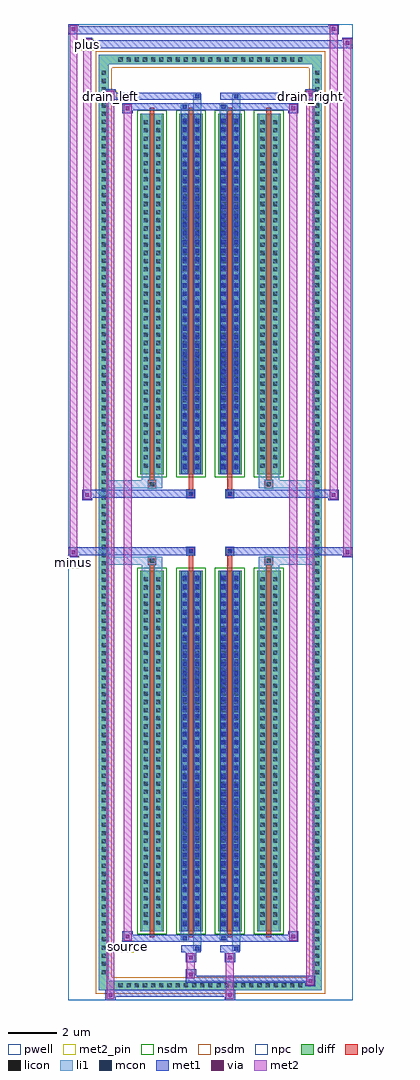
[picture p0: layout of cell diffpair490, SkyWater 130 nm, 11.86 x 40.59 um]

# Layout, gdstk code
import gdstk
lib = gdstk.Library(unit=1e-6, precision=5e-09)
def R(c, l, rs):  # rectangles x0, y0, x1, y1
    for r in rs: c.add(gdstk.rectangle(r[:2], r[2:], *l))
def A(c, l, x, y, w, h, nx, ny, dx, dy):  # array of equal rectangles
    R(c, l, [(x+i*dx, y+j*dy, x+i*dx+w, y+j*dy+h) for i in range(nx) for j in range(ny)])
def P(c, l, *ps):  # polygons
    for p in ps: c.add(gdstk.Polygon(p, *l))
pwell = (64, 44)
diff = (65, 20)
poly = (66, 20)
licon = (66, 44)
li1 = (67, 20)
mcon = (67, 44)
met1 = (68, 20)
via = (68, 44)
met2_pin = (69, 16)
met2 = (69, 20)
nsdm = (93, 44)
psdm = (94, 20)
npc = (95, 20)

diffpair490 = lib.new_cell('diffpair490')
R(diffpair490, pwell, [(-5.91,-19.86,5.91,20.73), (-3.23,-18.05,-0.01,-0.825), (0.01,-18.05,3.23,-0.825), (-3.23,0.825,-0.01,18.05), (0.01,0.825,3.23,18.05)])
A(diffpair490, diff, -3.945, -19.46, 0.41, 0.41, 23, 2, 0.34, 38.51)
A(diffpair490, diff, -4.64, -18.905, 0.41, 0.41, 1, 111, 0, 0.34)
A(diffpair490, diff, 4.23, -18.905, 0.41, 0.41, 1, 111, 0, 0.34)
A(diffpair490, diff, -2.92, -17.005, 0.98, 15, 4, 2, 1.62, 19.01)
R(diffpair490, diff, [(-3.945,-19.46,3.945,-19.05), (-4.64,-18.905,-4.23,18.905), (4.23,-18.905,4.64,18.905), (-3.945,19.05,3.945,19.46)])
P(diffpair490, diff, [(4.64,19.46),(-4.64,19.46),(-4.64,-19.05),(-4.23,-19.05),(-4.23,19.05),(4.23,19.05),(4.23,-19.05),(-4.23,-19.05),(-4.64,-19.05),(-4.64,-19.46),(4.64,-19.46)])
A(diffpair490, poly, -2.53, -17.255, 0.2, 15.5, 4, 2, 1.62, 19.01)
R(diffpair490, poly, [(-2.595,-1.755,-2.265,-1.425), (-2.595,-1.755,-2.265,-1.425), (-0.91,-1.755,-0.71,-1.355), (0.71,-1.755,0.91,-1.355), (2.265,-1.755,2.595,-1.425), (2.265,-1.755,2.595,-1.425), (-0.975,-1.355,-0.645,-1.025), (-0.975,-1.355,-0.645,-1.025), (0.645,-1.355,0.975,-1.025), (0.645,-1.355,0.975,-1.025), (-0.975,1.025,-0.645,1.355), (-0.975,1.025,-0.645,1.355), (0.645,1.025,0.975,1.355), (0.645,1.025,0.975,1.355), (-0.91,1.355,-0.71,1.755), (0.71,1.355,0.91,1.755), (-2.595,1.425,-2.265,1.755), (-2.595,1.425,-2.265,1.755), (2.265,1.425,2.595,1.755), (2.265,1.425,2.595,1.755)])
A(diffpair490, licon, -3.825, -19.34, 0.17, 0.17, 23, 2, 0.34, 38.51)
A(diffpair490, licon, -4.52, -18.785, 0.17, 0.17, 1, 111, 0, 0.34)
A(diffpair490, licon, 4.35, -18.785, 0.17, 0.17, 1, 111, 0, 0.34)
A(diffpair490, licon, -2.78, -16.73, 0.17, 0.17, 1, 43, 0, 0.34)
A(diffpair490, licon, -2.25, -16.73, 0.17, 0.17, 1, 43, 0, 0.34)
A(diffpair490, licon, -1.16, -16.73, 0.17, 0.17, 1, 43, 0, 0.34)
A(diffpair490, licon, -0.63, -16.73, 0.17, 0.17, 1, 43, 0, 0.34)
A(diffpair490, licon, 0.46, -16.73, 0.17, 0.17, 1, 43, 0, 0.34)
A(diffpair490, licon, 0.99, -16.73, 0.17, 0.17, 1, 43, 0, 0.34)
A(diffpair490, licon, 2.08, -16.73, 0.17, 0.17, 1, 43, 0, 0.34)
A(diffpair490, licon, 2.61, -16.73, 0.17, 0.17, 1, 43, 0, 0.34)
A(diffpair490, licon, -2.78, 2.28, 0.17, 0.17, 1, 43, 0, 0.34)
A(diffpair490, licon, -2.25, 2.28, 0.17, 0.17, 1, 43, 0, 0.34)
A(diffpair490, licon, -1.16, 2.28, 0.17, 0.17, 1, 43, 0, 0.34)
A(diffpair490, licon, -0.63, 2.28, 0.17, 0.17, 1, 43, 0, 0.34)
A(diffpair490, licon, 0.46, 2.28, 0.17, 0.17, 1, 43, 0, 0.34)
A(diffpair490, licon, 0.99, 2.28, 0.17, 0.17, 1, 43, 0, 0.34)
A(diffpair490, licon, 2.08, 2.28, 0.17, 0.17, 1, 43, 0, 0.34)
A(diffpair490, licon, 2.61, 2.28, 0.17, 0.17, 1, 43, 0, 0.34)
R(diffpair490, licon, [(-2.515,-1.675,-2.345,-1.505), (2.345,-1.675,2.515,-1.505), (-0.895,-1.275,-0.725,-1.105), (0.725,-1.275,0.895,-1.105), (-0.895,1.105,-0.725,1.275), (0.725,1.105,0.895,1.275), (-2.515,1.505,-2.345,1.675), (2.345,1.505,2.515,1.675)])
A(diffpair490, li1, -3.905, -19.42, 0.33, 0.33, 23, 2, 0.34, 38.51)
A(diffpair490, li1, -4.6, -18.865, 0.33, 0.33, 1, 111, 0, 0.34)
A(diffpair490, li1, 4.27, -18.865, 0.33, 0.33, 1, 111, 0, 0.34)
A(diffpair490, li1, -2.86, -16.81, 0.33, 0.33, 1, 43, 0, 0.34)
A(diffpair490, li1, -2.33, -16.81, 0.33, 0.33, 1, 43, 0, 0.34)
A(diffpair490, li1, -1.24, -16.81, 0.33, 0.33, 1, 43, 0, 0.34)
A(diffpair490, li1, -0.71, -16.81, 0.33, 0.33, 1, 43, 0, 0.34)
A(diffpair490, li1, 0.38, -16.81, 0.33, 0.33, 1, 43, 0, 0.34)
A(diffpair490, li1, 0.91, -16.81, 0.33, 0.33, 1, 43, 0, 0.34)
A(diffpair490, li1, 2, -16.81, 0.33, 0.33, 1, 43, 0, 0.34)
A(diffpair490, li1, 2.53, -16.81, 0.33, 0.33, 1, 43, 0, 0.34)
A(diffpair490, li1, -1.16, -16.79, 0.17, 0.17, 1, 41, 0, 0.36)
A(diffpair490, li1, -0.63, -16.79, 0.17, 0.17, 1, 41, 0, 0.36)
A(diffpair490, li1, 0.46, -16.79, 0.17, 0.17, 1, 41, 0, 0.36)
A(diffpair490, li1, 0.99, -16.79, 0.17, 0.17, 1, 41, 0, 0.36)
A(diffpair490, li1, -2.86, 2.2, 0.33, 0.33, 1, 43, 0, 0.34)
A(diffpair490, li1, -2.33, 2.2, 0.33, 0.33, 1, 43, 0, 0.34)
A(diffpair490, li1, -1.24, 2.2, 0.33, 0.33, 1, 43, 0, 0.34)
A(diffpair490, li1, -0.71, 2.2, 0.33, 0.33, 1, 43, 0, 0.34)
A(diffpair490, li1, 0.38, 2.2, 0.33, 0.33, 1, 43, 0, 0.34)
A(diffpair490, li1, 0.91, 2.2, 0.33, 0.33, 1, 43, 0, 0.34)
A(diffpair490, li1, 2, 2.2, 0.33, 0.33, 1, 43, 0, 0.34)
A(diffpair490, li1, 2.53, 2.2, 0.33, 0.33, 1, 43, 0, 0.34)
A(diffpair490, li1, -1.16, 2.22, 0.17, 0.17, 1, 41, 0, 0.36)
A(diffpair490, li1, -0.63, 2.22, 0.17, 0.17, 1, 41, 0, 0.36)
A(diffpair490, li1, 0.46, 2.22, 0.17, 0.17, 1, 41, 0, 0.36)
A(diffpair490, li1, 0.99, 2.22, 0.17, 0.17, 1, 41, 0, 0.36)
R(diffpair490, li1, [(-4.64,-19.46,-4.23,-19.05), (-4.64,-19.46,-4.23,-19.05), (-4.23,-19.46,4.23,-19.05), (4.23,-19.46,4.64,-19.05), (4.23,-19.46,4.64,-19.05), (-4.64,-19.05,-4.23,19.05), (4.23,-19.05,4.64,19.05), (-0.71,-17.81,-0.38,-17.005), (-0.63,-17.81,-0.46,-17.64), (0.91,-17.81,1.24,-17.005), (0.99,-17.81,1.16,-17.64), (-1.24,-17.38,-0.91,-17.005), (-1.16,-17.38,-0.99,-17.21), (0.38,-17.38,0.71,-17.005), (0.46,-17.38,0.63,-17.21), (-2.86,-17.005,-2.53,-2.005), (-2.33,-17.005,-2,-2.005), (-1.24,-17.005,-0.91,-2.005), (-0.71,-17.005,-0.38,-2.005), (0.38,-17.005,0.71,-2.005), (0.91,-17.005,1.24,-2.005), (2,-17.005,2.33,-2.005), (2.53,-17.005,2.86,-2.005), (-1.16,-16.79,-0.99,-2.22), (-0.63,-16.79,-0.46,-2.22), (0.46,-16.79,0.63,-2.22), (0.99,-16.79,1.16,-2.22), (-2.86,-2.005,-2.53,-1.425), (-2.33,-2.005,-2,-1.425), (2,-2.005,2.33,-1.425), (2.53,-2.005,2.86,-1.425), (-4.64,-1.755,-2.595,-1.425), (-2.86,-1.755,-2.595,-1.425), (-2.595,-1.755,-2.265,-1.425), (-2.265,-1.755,-2,-1.425), (2,-1.755,2.265,-1.425), (2.265,-1.755,2.595,-1.425), (2.265,-1.755,4.64,-1.425), (2.595,-1.755,2.86,-1.425), (-0.975,-1.355,-0.645,-1.025), (0.645,-1.355,0.975,-1.025), (-0.975,1.025,-0.645,1.355), (0.645,1.025,0.975,1.355), (-4.64,1.425,-2.595,1.755), (-2.86,1.425,-2.595,1.755), (-2.86,1.425,-2.53,2.005), (-2.595,1.425,-2.265,1.755), (-2.33,1.425,-2,2.005), (-2.265,1.425,-2,1.755), (2,1.425,2.265,1.755), (2,1.425,2.33,2.005), (2.265,1.425,2.595,1.755), (2.265,1.425,4.64,1.755), (2.53,1.425,2.86,2.005), (2.595,1.425,2.86,1.755), (-2.86,2.005,-2.53,17.005), (-2.33,2.005,-2,17.005), (-1.24,2.005,-0.91,17.005), (-0.71,2.005,-0.38,17.005), (0.38,2.005,0.71,17.005), (0.91,2.005,1.24,17.005), (2,2.005,2.33,17.005), (2.53,2.005,2.86,17.005), (-1.16,2.22,-0.99,16.79), (-0.63,2.22,-0.46,16.79), (0.46,2.22,0.63,16.79), (0.99,2.22,1.16,16.79), (-1.24,17.005,-0.91,17.38), (-0.71,17.005,-0.38,17.81), (0.38,17.005,0.71,17.38), (0.91,17.005,1.24,17.81), (-1.16,17.21,-0.99,17.38), (0.46,17.21,0.63,17.38), (-0.63,17.64,-0.46,17.81), (0.99,17.64,1.16,17.81), (-4.64,19.05,-4.23,19.46), (-4.64,19.05,-4.23,19.46), (-4.23,19.05,4.23,19.46), (4.23,19.05,4.64,19.46), (4.23,19.05,4.64,19.46)])
A(diffpair490, mcon, -1.16, -16.79, 0.17, 0.17, 1, 41, 0, 0.36)
A(diffpair490, mcon, -0.63, -16.79, 0.17, 0.17, 1, 41, 0, 0.36)
A(diffpair490, mcon, 0.46, -16.79, 0.17, 0.17, 1, 41, 0, 0.36)
A(diffpair490, mcon, 0.99, -16.79, 0.17, 0.17, 1, 41, 0, 0.36)
A(diffpair490, mcon, -1.16, 2.22, 0.17, 0.17, 1, 41, 0, 0.36)
A(diffpair490, mcon, -0.63, 2.22, 0.17, 0.17, 1, 41, 0, 0.36)
A(diffpair490, mcon, 0.46, 2.22, 0.17, 0.17, 1, 41, 0, 0.36)
A(diffpair490, mcon, 0.99, 2.22, 0.17, 0.17, 1, 41, 0, 0.36)
R(diffpair490, mcon, [(-0.63,-17.81,-0.46,-17.64), (0.99,-17.81,1.16,-17.64), (-1.16,-17.38,-0.99,-17.21), (0.46,-17.38,0.63,-17.21), (-0.895,-1.275,-0.725,-1.105), (0.725,-1.275,0.895,-1.105), (-0.895,1.105,-0.725,1.275), (0.725,1.105,0.895,1.275), (-1.16,17.21,-0.99,17.38), (0.46,17.21,0.63,17.38), (-0.63,17.64,-0.46,17.81), (0.99,17.64,1.16,17.81)])
A(diffpair490, met1, -1.22, -16.85, 0.29, 0.29, 1, 41, 0, 0.36)
A(diffpair490, met1, -0.69, -16.85, 0.29, 0.29, 1, 41, 0, 0.36)
A(diffpair490, met1, 0.4, -16.85, 0.29, 0.29, 1, 41, 0, 0.36)
A(diffpair490, met1, 0.93, -16.85, 0.29, 0.29, 1, 41, 0, 0.36)
A(diffpair490, met1, -1.22, 2.16, 0.29, 0.29, 1, 41, 0, 0.36)
A(diffpair490, met1, -0.69, 2.16, 0.29, 0.29, 1, 41, 0, 0.36)
A(diffpair490, met1, 0.4, 2.16, 0.29, 0.29, 1, 41, 0, 0.36)
A(diffpair490, met1, 0.93, 2.16, 0.29, 0.29, 1, 41, 0, 0.36)
R(diffpair490, met1, [(-4.37,-19.86,-3.94,-19.43), (0.595,-19.86,1.025,-19.43), (-4.37,-19.72,1.025,-19.43), (3.94,-19.29,4.37,-18.86), (-1.025,-19.15,4.37,-18.86), (-1.025,-19.01,-0.595,-18.58), (-1.025,-18.3,-0.595,-17.87), (0.595,-18.3,1.025,-17.87), (-1.22,-17.87,-0.4,-17.58), (-0.69,-17.87,-0.4,-17.58), (0.4,-17.87,1.22,-17.58), (0.93,-17.87,1.22,-17.58), (-3.66,-17.44,-3.23,-17.01), (-3.66,-17.44,-1.22,-17.15), (-1.22,-17.44,-0.93,-17.15), (-1.22,-17.44,-0.4,-17.15), (-0.4,-17.44,0.4,-17.15), (0.4,-17.44,0.69,-17.15), (0.4,-17.44,1.22,-17.15), (1.22,-17.44,3.66,-17.15), (3.23,-17.44,3.66,-17.01), (-1.22,-17.005,-0.93,-2.005), (-0.69,-17.005,-0.4,-2.005), (0.4,-17.005,0.69,-2.005), (0.93,-17.005,1.22,-2.005), (-5.91,-1.455,-5.48,-1.025), (5.48,-1.455,5.91,-1.025), (-5.91,-1.355,-0.645,-1.025), (-0.975,-1.355,-0.645,-1.025), (0.645,-1.355,0.975,-1.025), (0.645,-1.355,5.91,-1.025), (-0.955,-1.335,-0.665,-1.045), (0.665,-1.335,0.955,-1.045), (-5.34,0.925,-4.91,1.355), (4.91,0.925,5.34,1.355), (-5.34,1.025,-0.975,1.355), (-0.975,1.025,-0.645,1.355), (0.645,1.025,0.975,1.355), (0.975,1.025,5.34,1.355), (-0.955,1.045,-0.665,1.335), (0.665,1.045,0.955,1.335), (-1.22,2.005,-0.93,17.005), (-0.69,2.005,-0.4,17.005), (0.4,2.005,0.69,17.005), (0.93,2.005,1.22,17.005), (-3.66,17.01,-3.23,17.44), (3.23,17.01,3.66,17.44), (-3.66,17.15,-1.22,17.44), (-1.22,17.15,-0.93,17.44), (-1.22,17.15,-0.4,17.44), (-0.4,17.15,0.4,17.44), (0.4,17.15,0.69,17.44), (0.4,17.15,1.22,17.44), (1.22,17.15,3.66,17.44), (-4.37,17.58,-3.94,18.01), (-4.37,17.58,-1.22,17.87), (-1.22,17.58,-0.4,17.87), (-0.69,17.58,-0.4,17.87), (0.4,17.58,1.22,17.87), (0.93,17.58,1.22,17.87), (1.22,17.58,4.37,17.87), (3.94,17.58,4.37,18.01), (-5.34,19.73,-4.91,20.16), (-5.34,19.73,-3.23,20.06), (-3.23,19.73,3.23,20.06), (3.23,19.73,5.91,20.06), (5.48,19.73,5.91,20.16), (-5.91,20.3,-5.48,20.73), (-5.91,20.3,-3.23,20.63), (-3.23,20.3,3.23,20.63), (3.23,20.3,5.34,20.63), (4.91,20.3,5.34,20.73)])
R(diffpair490, via, [(-4.23,-19.72,-4.08,-19.57), (0.735,-19.72,0.885,-19.57), (4.08,-19.15,4.23,-19), (-0.885,-18.87,-0.735,-18.72), (-0.885,-18.16,-0.735,-18.01), (0.735,-18.16,0.885,-18.01), (-3.52,-17.3,-3.37,-17.15), (3.37,-17.3,3.52,-17.15), (-5.77,-1.315,-5.62,-1.165), (5.62,-1.315,5.77,-1.165), (-5.2,1.065,-5.05,1.215), (5.05,1.065,5.2,1.215), (-3.52,17.15,-3.37,17.3), (3.37,17.15,3.52,17.3), (-4.23,17.72,-4.08,17.87), (4.08,17.72,4.23,17.87), (-5.2,19.87,-5.05,20.02), (5.62,19.87,5.77,20.02), (-5.77,20.44,-5.62,20.59), (5.05,20.44,5.2,20.59)])
R(diffpair490, met2_pin, [(-3.695,-17.89,-3.195,-17.39), (-5.945,-1.905,-5.445,-1.405), (-4.405,17.46,-3.905,17.96), (3.905,17.46,4.405,17.96), (-5.375,19.61,-4.875,20.11)])
R(diffpair490, met2, [(-4.32,-19.81,-3.99,-19.48), (-4.32,-19.81,-3.99,17.96), (0.645,-19.81,0.975,-19.48), (0.645,-19.48,0.975,-18.25), (3.99,-19.24,4.32,-18.91), (3.99,-19.24,4.32,17.96), (-0.975,-18.96,-0.645,-18.63), (-0.975,-18.63,-0.645,-18.25), (-0.975,-18.25,-0.645,-17.92), (0.645,-18.25,0.975,-17.92), (-3.61,-17.39,-3.28,-17.06), (-3.61,-17.39,-3.28,17.39), (3.28,-17.39,3.61,-17.06), (3.28,-17.39,3.61,17.39), (-5.86,-1.405,-5.53,-1.075), (-5.86,-1.405,-5.53,20.68), (5.53,-1.405,5.86,-1.075), (5.53,-1.405,5.86,20.11), (-5.29,0.975,-4.96,1.305), (-5.29,0.975,-4.96,20.11), (4.96,0.975,5.29,1.305), (4.96,0.975,5.29,20.68), (-3.61,17.06,-3.28,17.39), (3.28,17.06,3.61,17.39), (-4.32,17.63,-3.99,17.96), (3.99,17.63,4.32,17.96), (-5.29,19.78,-4.96,20.11), (5.53,19.78,5.86,20.11), (-5.86,20.35,-5.53,20.68), (4.96,20.35,5.29,20.68)])
P(diffpair490, met2, [(5.86,-1.405),(5.86,-1.405),(5.86,-1.075),(5.86,-1.075)],
  [(5.86,19.78),(5.86,19.78),(5.86,20.11),(5.86,20.11)],
  [(-5.53,-1.405),(-5.53,-1.405),(-5.53,-1.075),(-5.53,-1.075)],
  [(-5.53,20.35),(-5.53,20.35),(-5.53,20.68),(-5.53,20.68)],
  [(5.29,0.975),(5.29,0.975),(5.29,1.305),(5.29,1.305)],
  [(5.29,20.35),(5.29,20.35),(5.29,20.68),(5.29,20.68)],
  [(-4.96,0.975),(-4.96,0.975),(-4.96,1.305),(-4.96,1.305)],
  [(-4.96,19.78),(-4.96,19.78),(-4.96,20.11),(-4.96,20.11)],
  [(-3.99,-19.81),(-3.99,-19.81),(-3.99,-19.48),(-3.99,-19.48)],
  [(-3.99,17.63),(-3.99,17.63),(-3.99,17.96),(-3.99,17.96)],
  [(4.32,-19.24),(4.32,-19.24),(4.32,-18.91),(4.32,-18.91)],
  [(4.32,17.63),(4.32,17.63),(4.32,17.96),(4.32,17.96)],
  [(-3.28,-17.39),(-3.28,-17.39),(-3.28,-17.06),(-3.28,-17.06)],
  [(-3.28,17.06),(-3.28,17.06),(-3.28,17.39),(-3.28,17.39)],
  [(3.61,-17.39),(3.61,-17.39),(3.61,-17.06),(3.61,-17.06)],
  [(3.61,17.06),(3.61,17.06),(3.61,17.39),(3.61,17.39)])
A(diffpair490, nsdm, -3.05, -17.135, 1.24, 15.26, 4, 2, 1.62, 19.01)
P(diffpair490, psdm, [(4.77,19.59),(-4.77,19.59),(-4.77,-18.92),(-4.1,-18.92),(-4.1,18.92),(4.1,18.92),(4.1,-18.92),(-4.1,-18.92),(-4.77,-18.92),(-4.77,-19.59),(4.77,-19.59)])
R(diffpair490, npc, [(-2.615,-1.775,-2.245,-1.405), (2.245,-1.775,2.615,-1.405), (-0.995,-1.375,-0.625,-1.005), (0.625,-1.375,0.995,-1.005), (-0.995,1.005,-0.625,1.375), (0.625,1.005,0.995,1.375), (-2.615,1.405,-2.245,1.775), (2.245,1.405,2.615,1.775)])
diffpair490.add(gdstk.Label('minus', (-5.695,-1.655), layer=69, texttype=5))
diffpair490.add(gdstk.Label('drain_right', (4.155,17.71), layer=69, texttype=5))
diffpair490.add(gdstk.Label('drain_left', (-4.155,17.71), layer=69, texttype=5))
diffpair490.add(gdstk.Label('source', (-3.445,-17.64), layer=69, texttype=5))
diffpair490.add(gdstk.Label('plus', (-5.125,19.86), layer=69, texttype=5))

lib.write_gds('diffpair490.gds')
